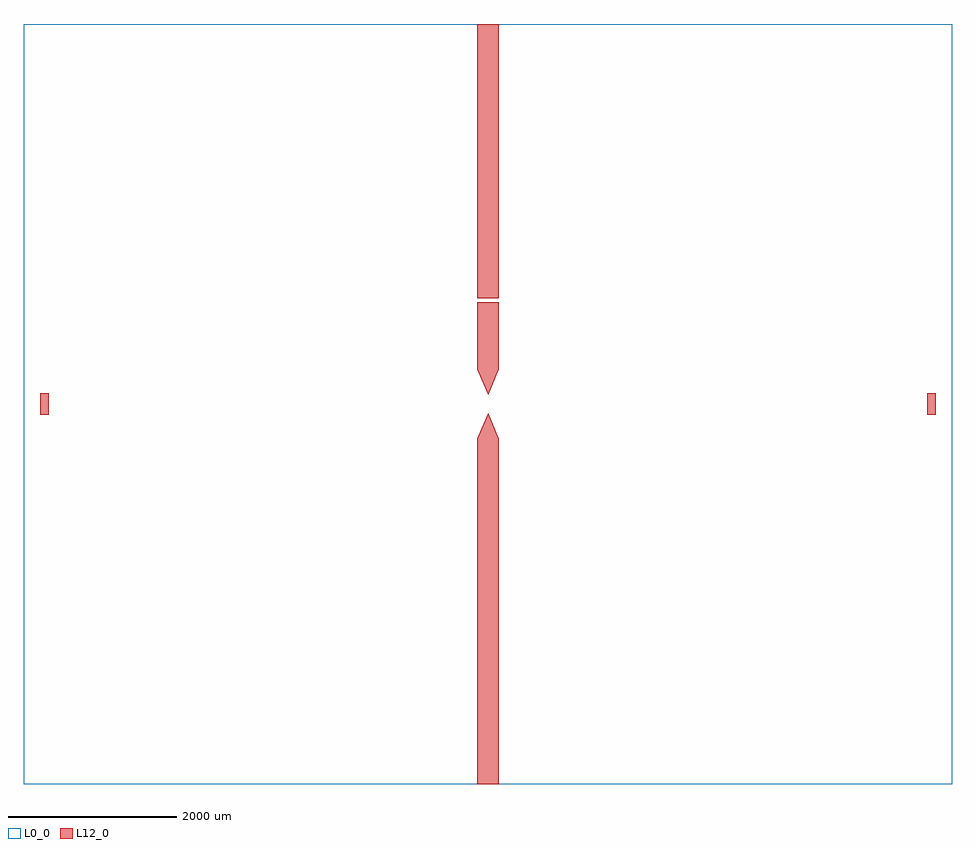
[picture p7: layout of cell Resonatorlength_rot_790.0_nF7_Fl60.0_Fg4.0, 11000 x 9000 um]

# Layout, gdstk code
import gdstk
lib = gdstk.Library(unit=1e-6, precision=1e-09)
def R(c, l, rs):  # rectangles x0, y0, x1, y1
    for r in rs: c.add(gdstk.rectangle(r[:2], r[2:], *l))
def P(c, l, *ps):  # polygons
    for p in ps: c.add(gdstk.Polygon(p, *l))
L0_0 = (0, 0)
L12_0 = (12, 0)

resonatorlength_rot_790_ = lib.new_cell('Resonatorlength_rot_790.0_nF7_Fl60.0_Fg4.0')
R(resonatorlength_rot_790_, L0_0, [(-5500,-4500,5500,4500)])
R(resonatorlength_rot_790_, L12_0, [(-125,-4500,125,-1266), (-125,-1266,-92.714,-1206), (-52.429,-1266,-20.143,-1206), (20.143,-1266,52.429,-1206), (92.714,-1266,125,-1206), (-88.714,-1262,-56.429,-1202), (-16.143,-1262,16.143,-1202), (56.429,-1262,88.714,-1202), (-125,-1202,125,-412), (-5300,-125,-5200,125), (5200,-125,5300,125), (-125,412,125,1202), (-125,1252,125,4500)])
P(resonatorlength_rot_790_, L12_0, [(-125,-412),(125,-412),(0,-108.5)],
  [(-125,412),(125,412),(0,108.5)])

lib.write_gds('Resonatorlength_rot_790.0_nF7_Fl60.0_Fg4.0.gds')
